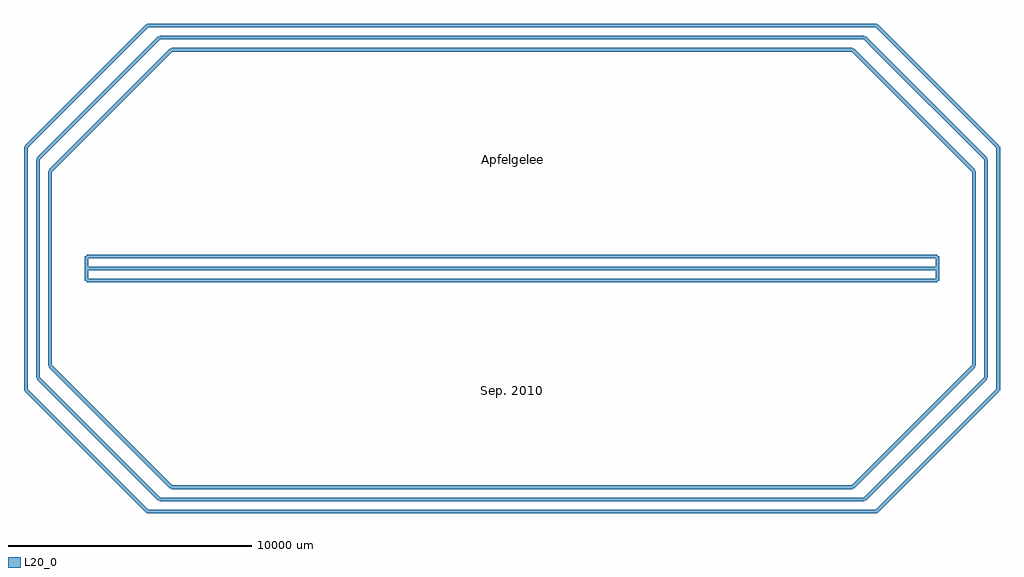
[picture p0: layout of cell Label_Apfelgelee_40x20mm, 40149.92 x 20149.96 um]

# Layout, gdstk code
import gdstk
lib = gdstk.Library(unit=1e-6, precision=1e-09)
L20_0 = (20, 0)

label_apfelgelee_40x20mm = lib.new_cell('Label_Apfelgelee_40x20mm')
label_apfelgelee_40x20mm.add(gdstk.FlexPath([(19999.96,-5001.26),(15001.24,-9999.98)], 149.998, ends="flush", simple_path=True, layer=20, datatype=0))  # L20_0
label_apfelgelee_40x20mm.add(gdstk.FlexPath([(15001.24,9999.98),(19999.96,5001.26)], 149.998, ends="flush", simple_path=True, layer=20, datatype=0))  # L20_0
label_apfelgelee_40x20mm.add(gdstk.FlexPath([(-15001.24,9999.98),(-19999.96,5001.26)], 149.998, ends="flush", simple_path=True, layer=20, datatype=0))  # L20_0
label_apfelgelee_40x20mm.add(gdstk.FlexPath([(-19999.96,-5001.26),(-15001.24,-9999.98)], 149.998, ends="flush", simple_path=True, layer=20, datatype=0))  # L20_0
label_apfelgelee_40x20mm.add(gdstk.FlexPath([(-19999.96,5001.26),(-19999.96,-5001.26)], 149.998, ends="flush", simple_path=True, layer=20, datatype=0))  # L20_0
label_apfelgelee_40x20mm.add(gdstk.FlexPath([(-15001.24,-9999.98),(0,-9999.98)], 149.998, ends="flush", simple_path=True, layer=20, datatype=0))  # L20_0
label_apfelgelee_40x20mm.add(gdstk.FlexPath([(0,-9999.98),(15001.24,-9999.98)], 149.998, ends="flush", simple_path=True, layer=20, datatype=0))  # L20_0
label_apfelgelee_40x20mm.add(gdstk.FlexPath([(19999.96,5001.26),(19999.96,-5001.26)], 149.998, ends="flush", simple_path=True, layer=20, datatype=0))  # L20_0
label_apfelgelee_40x20mm.add(gdstk.FlexPath([(-15001.24,9999.98),(15001.24,9999.98)], 149.998, ends="flush", simple_path=True, layer=20, datatype=0))  # L20_0
label_apfelgelee_40x20mm.add(gdstk.FlexPath([(14500.86,9499.6),(15001.24,8999.22)], 149.998, ends="flush", simple_path=True, layer=20, datatype=0))  # L20_0
label_apfelgelee_40x20mm.add(gdstk.FlexPath([(-14500.86,9499.6),(14500.86,9499.6)], 149.998, ends="flush", simple_path=True, layer=20, datatype=0))  # L20_0
label_apfelgelee_40x20mm.add(gdstk.FlexPath([(-19499.58,4500.88),(-14500.86,9499.6)], 149.998, ends="flush", simple_path=True, layer=20, datatype=0))  # L20_0
label_apfelgelee_40x20mm.add(gdstk.FlexPath([(-19499.58,-4500.88),(-19499.58,4500.88)], 149.998, ends="flush", simple_path=True, layer=20, datatype=0))  # L20_0
label_apfelgelee_40x20mm.add(gdstk.FlexPath([(-14500.86,-9499.6),(-19499.58,-4500.88)], 149.998, ends="flush", simple_path=True, layer=20, datatype=0))  # L20_0
label_apfelgelee_40x20mm.add(gdstk.FlexPath([(14500.86,-9499.6),(-14500.86,-9499.6)], 149.998, ends="flush", simple_path=True, layer=20, datatype=0))  # L20_0
label_apfelgelee_40x20mm.add(gdstk.FlexPath([(19499.58,-4500.88),(14500.86,-9499.6)], 149.998, ends="flush", simple_path=True, layer=20, datatype=0))  # L20_0
label_apfelgelee_40x20mm.add(gdstk.FlexPath([(19499.58,4500.88),(19499.58,-4500.88)], 149.998, ends="flush", simple_path=True, layer=20, datatype=0))  # L20_0
label_apfelgelee_40x20mm.add(gdstk.FlexPath([(15001.24,8999.22),(19499.58,4500.88)], 149.998, ends="flush", simple_path=True, layer=20, datatype=0))  # L20_0
label_apfelgelee_40x20mm.add(gdstk.FlexPath([(14000.48,8999.22),(18999.2,4000.5)], 149.998, ends="flush", simple_path=True, layer=20, datatype=0))  # L20_0
label_apfelgelee_40x20mm.add(gdstk.FlexPath([(-14000.48,8999.22),(14000.48,8999.22)], 149.998, ends="flush", simple_path=True, layer=20, datatype=0))  # L20_0
label_apfelgelee_40x20mm.add(gdstk.FlexPath([(-18999.2,4000.5),(-14000.48,8999.22)], 149.998, ends="flush", simple_path=True, layer=20, datatype=0))  # L20_0
label_apfelgelee_40x20mm.add(gdstk.FlexPath([(-18999.2,-4000.5),(-18999.2,4000.5)], 149.998, ends="flush", simple_path=True, layer=20, datatype=0))  # L20_0
label_apfelgelee_40x20mm.add(gdstk.FlexPath([(-14000.48,-8999.22),(-18999.2,-4000.5)], 149.998, ends="flush", simple_path=True, layer=20, datatype=0))  # L20_0
label_apfelgelee_40x20mm.add(gdstk.FlexPath([(14000.48,-8999.22),(-14000.48,-8999.22)], 149.998, ends="flush", simple_path=True, layer=20, datatype=0))  # L20_0
label_apfelgelee_40x20mm.add(gdstk.FlexPath([(18999.2,-4000.5),(14000.48,-8999.22)], 149.998, ends="flush", simple_path=True, layer=20, datatype=0))  # L20_0
label_apfelgelee_40x20mm.add(gdstk.FlexPath([(18999.2,4000.5),(18999.2,-4000.5)], 149.998, ends="flush", simple_path=True, layer=20, datatype=0))  # L20_0
label_apfelgelee_40x20mm.add(gdstk.FlexPath([(-17500.6,0),(17500.6,0)], 149.998, ends="flush", simple_path=True, layer=20, datatype=0))  # L20_0
label_apfelgelee_40x20mm.add(gdstk.FlexPath([(17500.6,-500.38),(17500.6,0)], 149.998, ends="flush", simple_path=True, layer=20, datatype=0))  # L20_0
label_apfelgelee_40x20mm.add(gdstk.FlexPath([(-17500.6,-500.38),(17500.6,-500.38)], 149.998, ends="flush", simple_path=True, layer=20, datatype=0))  # L20_0
label_apfelgelee_40x20mm.add(gdstk.FlexPath([(-17500.6,500.38),(-17500.6,-500.38)], 149.998, ends="flush", simple_path=True, layer=20, datatype=0))  # L20_0
label_apfelgelee_40x20mm.add(gdstk.FlexPath([(17500.6,500.38),(-17500.6,500.38)], 149.998, ends="flush", simple_path=True, layer=20, datatype=0))  # L20_0
label_apfelgelee_40x20mm.add(gdstk.FlexPath([(17500.6,0),(17500.6,500.38)], 149.998, ends="flush", simple_path=True, layer=20, datatype=0))  # L20_0
label_apfelgelee_40x20mm.add(gdstk.Label('Apfelgelee', (0,4500.88), layer=9, texttype=0))
label_apfelgelee_40x20mm.add(gdstk.Label('Sep. 2010', (0,-5001.26), layer=9, texttype=0))
label_apfelgelee_40x20mm.add(gdstk.Label('type', (0,-12499.34), layer=9, texttype=0))
label_apfelgelee_40x20mm.add(gdstk.Label('devicename', (0,11501.12), layer=9, texttype=0))

lib.write_gds('Label_Apfelgelee_40x20mm.gds')
